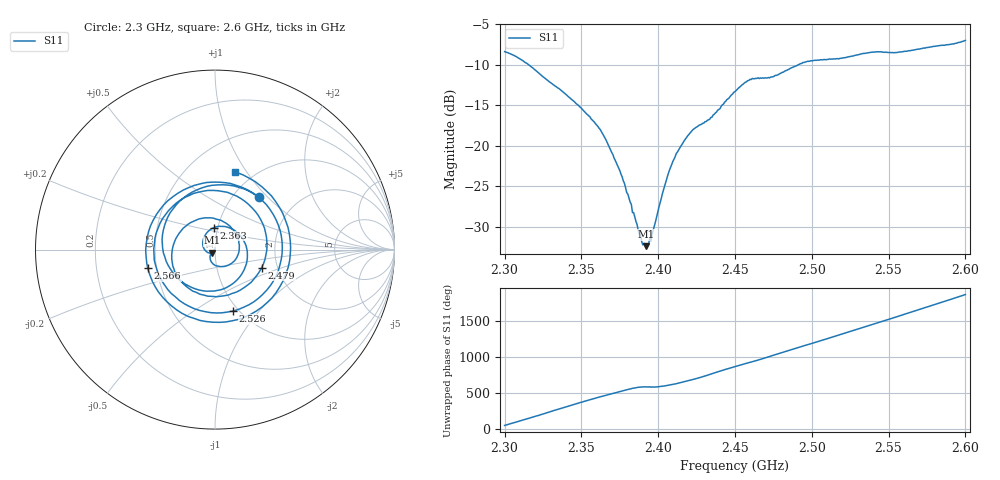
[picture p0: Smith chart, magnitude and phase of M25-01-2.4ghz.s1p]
! NanoVNA-App
! Date: 2026-05-25 01:49:03
! Start: 2.3GHz Stop: 2.6GHz Points: 401
! S-Parameter data: F S11
# Hz S RI R 50
!  Frequency  S11_Real  S11_Imag
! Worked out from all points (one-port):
!   401 points, 2.3 GHz to 2.6 GHz, reference 50 ohm
!   lowest |S11| = -32.4 dB at 2.392 GHz (marker M1), VSWR 1.05, Z = 48.4 - j1.7 ohm
!   |S11| at or under -10 dB: 2.316 GHz to 2.491 GHz (175.6 MHz wide, 7.31 % of centre)
!   S11 on the Smith chart (normalised r, x): 2.3 GHz: 1.31, +0.89; 2.363 GHz: 0.96, +0.24; 2.479 GHz: 1.65, -0.36; 2.526 GHz: 0.94, -0.74; 2.566 GHz: 0.45, -0.11; 2.6 GHz: 0.82, +0.89
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2.3e9  0.2458 0.291
2.30825e9  -0.0749 0.3433
2.318e9  -0.2925 0.0833
2.3285e9  -0.152 -0.1996
2.3375e9  0.0826 -0.2008
2.348e9  0.1779 0.000951
2.363e9  -0.00691 0.1222
2.375e9  -0.0672 0.0206
2.39225e9  -0.0164 -0.0175
2.4125e9  0.00964 -0.0909
2.43125e9  0.1279 0.0595
2.45e9  -0.1882 0.1055
2.46725e9  -0.0638 -0.2531
2.47925e9  0.2602 -0.1006
2.4875e9  0.2547 0.1668
2.498e9  -0.0619 0.3261
2.50925e9  -0.3373 0.036
2.525e9  0.0696 -0.3479
2.52575e9  0.1017 -0.3419
2.537e9  0.375 0.00963
2.54825e9  0.0857 0.3687
2.555e9  -0.208 0.3132
2.5625e9  -0.3834 0.0315
2.5655e9  -0.3743 -0.104
2.573e9  -0.1503 -0.3722
2.579e9  0.1333 -0.3883
2.5895e9  0.4213 0.0102
2.6e9  0.1139 0.4318
